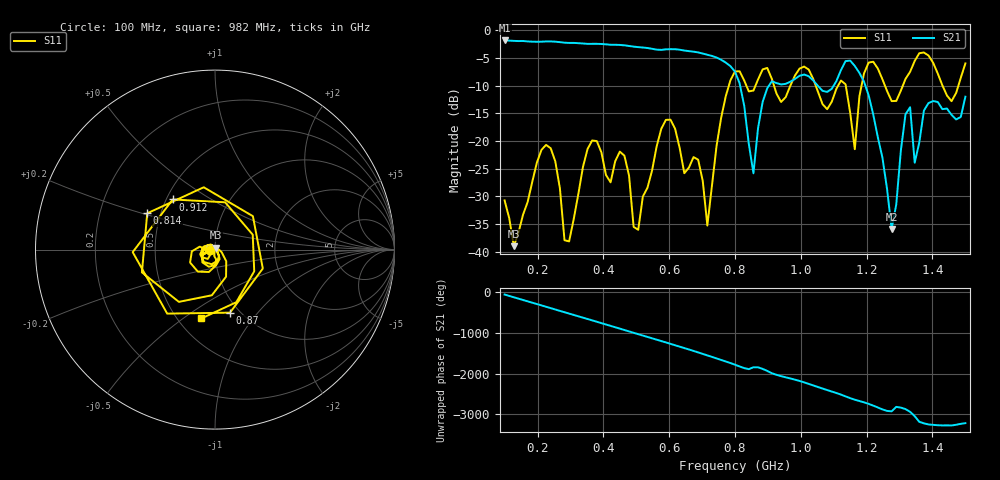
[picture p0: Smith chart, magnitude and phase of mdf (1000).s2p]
! NanoVNA-App
! Date: 2025-09-25 15:46:12
! Start: 100MHz Stop: 1,5GHz Points: 101
! S-Parameter data: F S11 S21 S12 S22
# Hz S RI R 50
!  Frequency  S11_Real  S11_Imag  S21_Real  S21_Imag  S12_Real  S12_Imag  S22_Real  S22_Imag
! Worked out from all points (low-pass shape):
!   101 points, 100 MHz to 1.5 GHz, reference 50 ohm
!   highest |S21| = -1.80 dB at 100 MHz (marker M1); lowest = -35.9 dB at 1.276 GHz (marker M2)
!   |S21| within 3 dB of the highest: start of sweep to 739.7 MHz
!   lowest |S11| = -39.0 dB at 128 MHz (marker M3), VSWR 1.02, Z = 50.3 + j1.08 ohm
!   |S11| at or under -10 dB: start of sweep to 781.2 MHz; 1.045 GHz to 1.113 GHz (67.63 MHz wide, 6.27 % of centre); 1.256 GHz to 1.31 GHz (53.96 MHz wide, 4.21 % of centre) (the widest 3 of 7)
!   S12 and S22 are empty: the file has one direction only
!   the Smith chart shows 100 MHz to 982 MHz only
!   S11 on the Smith chart (normalised r, x): 100 MHz: 0.94, -0.01; 814 MHz: 0.42, +0.21; 870 MHz: 0.90, -0.73; 912 MHz: 0.54, +0.35; 982 MHz: 0.65, -0.59
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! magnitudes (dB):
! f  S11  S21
! 100 MHz  -30.7  -1.8
! 128 MHz  -39.0  -1.9
! 212 MHz  -21.6  -2.0
! 282 MHz  -37.9  -2.2
! 338 MHz  -24.7  -2.4
! 464 MHz  -22.6  -2.7
! 506 MHz  -36.0  -3.0
! 576 MHz  -17.8  -3.5
! 716 MHz  -35.3  -4.4
! 800 MHz  -7.4  -7.4
! 814 MHz  -7.4  -9.5
! 856 MHz  -10.9  -25.8
! 870 MHz  -8.8  -17.7
! 912 MHz  -8.7  -9.2
! 982 MHz  -8.2  -8.8
! 1.038 GHz  -8.8  -9.1
! 1.164 GHz  -21.5  -6.4
! 1.178 GHz  -11.9  -7.7
! 1.276 GHz  -12.8  -35.9
! 1.318 GHz  -8.8  -15.2
! 1.346 GHz  -5.5  -23.9
! 1.5 GHz  -5.9  -12.0
